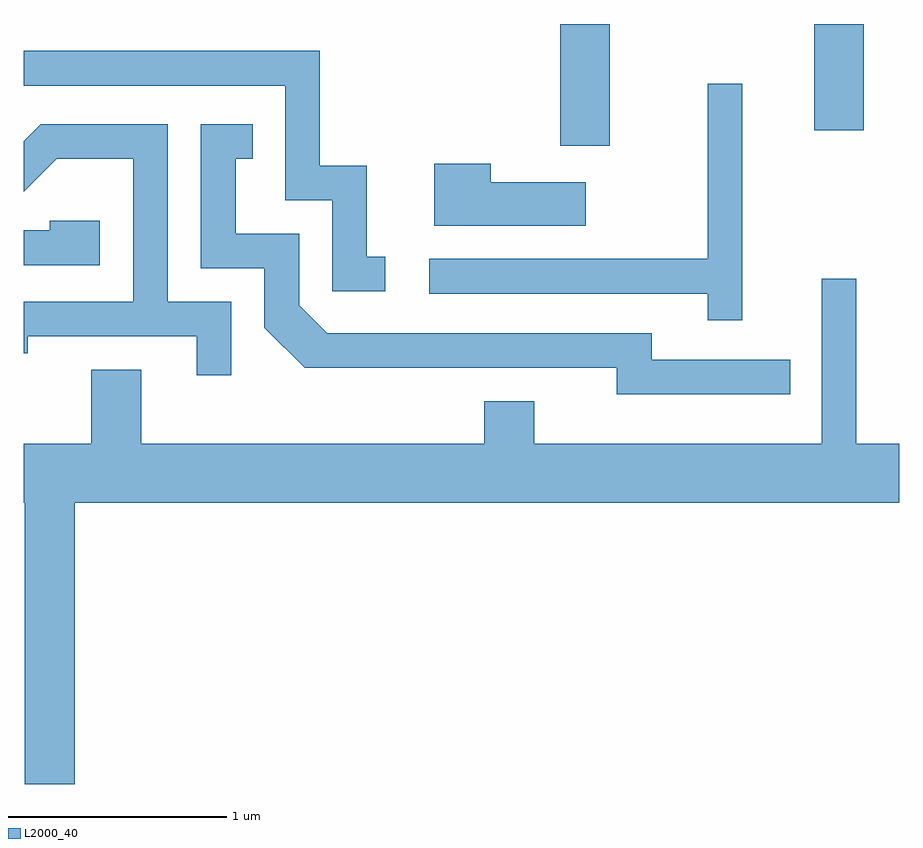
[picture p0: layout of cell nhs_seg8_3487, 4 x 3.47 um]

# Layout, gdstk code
import gdstk
lib = gdstk.Library(unit=1e-6, precision=1e-09)
def R(c, l, rs):  # rectangles x0, y0, x1, y1
    for r in rs: c.add(gdstk.rectangle(r[:2], r[2:], *l))
def P(c, l, *ps):  # polygons
    for p in ps: c.add(gdstk.Polygon(p, *l))
L2000_40 = (2000, 40)

nhs_seg8_3487 = lib.new_cell('nhs_seg8_3487')
R(nhs_seg8_3487, L2000_40, [(292.061,1875.786,292.289,1876.342), (293.221,1875.856,293.449,1876.342)])
P(nhs_seg8_3487, L2000_40, [(291.263,1875.279),(291.179,1875.279),(291.179,1875.694),(290.964,1875.694),(290.964,1876.219),(289.611,1876.219),(289.611,1876.061),(290.806,1876.061),(290.806,1875.536),(291.021,1875.536),(291.021,1875.121),(291.263,1875.121)],
  [(292.894,1876.068),(292.736,1876.068),(292.736,1875.269),(291.463,1875.269),(291.463,1875.111),(292.736,1875.111),(292.736,1874.988),(292.894,1874.988)],
  [(293.113,1874.809),(292.479,1874.809),(292.479,1874.929),(290.997,1874.929),(290.869,1875.057),(290.869,1875.384),(290.579,1875.384),(290.579,1875.726),(290.658,1875.726),(290.658,1875.884),(290.421,1875.884),(290.421,1875.226),(290.711,1875.226),(290.711,1874.954),(290.894,1874.771),(292.321,1874.771),(292.321,1874.651),(293.113,1874.651)],
  [(290.559,1875.074),(290.269,1875.074),(290.269,1875.884),(289.689,1875.884),(289.611,1875.806),(289.611,1875.575),(289.762,1875.726),(290.111,1875.726),(290.111,1875.074),(289.611,1875.074),(289.611,1874.838),(289.629,1874.838),(289.629,1874.916),(290.401,1874.916),(290.401,1874.738),(290.559,1874.738)],
  [(292.179,1875.619),(291.744,1875.619),(291.744,1875.704),(291.486,1875.704),(291.486,1875.421),(292.179,1875.421)],
  [(289.959,1875.444),(289.731,1875.444),(289.731,1875.399),(289.611,1875.399),(289.611,1875.241),(289.959,1875.241)],
  [(289.844,1874.156),(293.611,1874.156),(293.611,1874.424),(293.414,1874.424),(293.414,1875.178),(293.256,1875.178),(293.256,1874.424),(291.944,1874.424),(291.944,1874.619),(291.716,1874.619),(291.716,1874.424),(290.149,1874.424),(290.149,1874.764),(289.921,1874.764),(289.921,1874.424),(289.611,1874.424),(289.611,1874.156),(289.616,1874.156),(289.616,1872.871),(289.844,1872.871)])

lib.write_gds('nhs_seg8_3487.gds')
